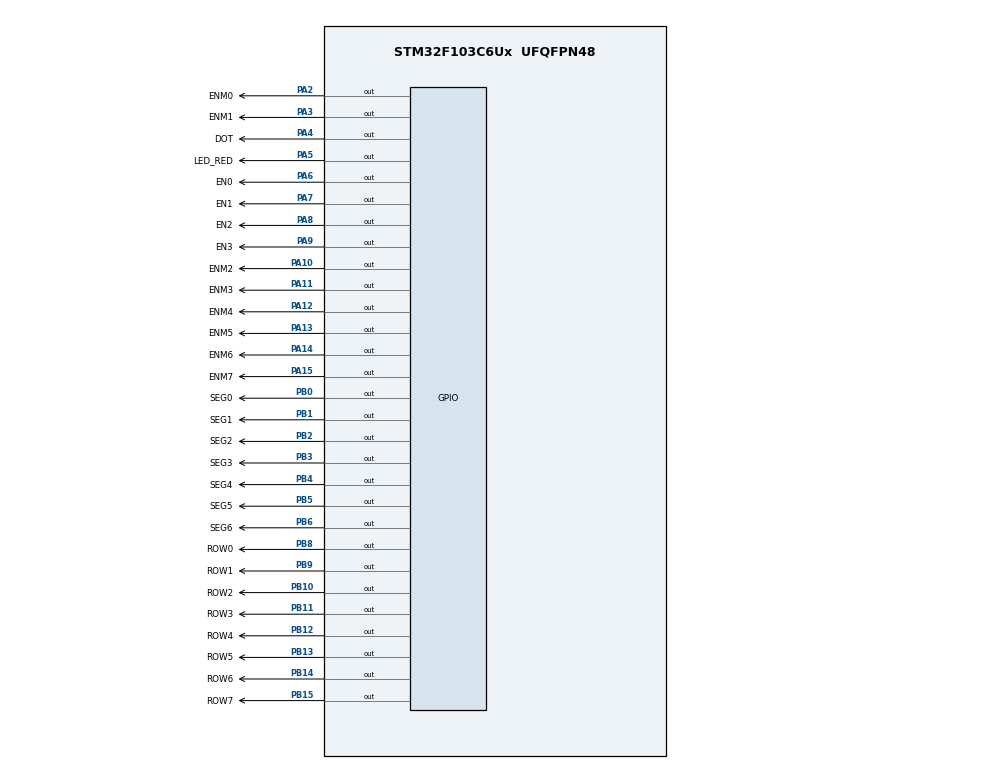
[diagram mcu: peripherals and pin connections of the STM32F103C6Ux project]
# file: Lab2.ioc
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Mcu.Family=STM32F1
Mcu.Name=STM32F103C6Ux
Mcu.Package=UFQFPN48
NVIC.PriorityGroup=NVIC_PRIORITYGROUP_4
NVIC.TIM2_IRQn=true\:0\:0\:false\:false\:true\:true\:true
PA10.GPIO_Label=ENM2
PA10.Signal=GPIO_Output
PA11.GPIO_Label=ENM3
PA11.Signal=GPIO_Output
PA12.GPIO_Label=ENM4
PA12.Signal=GPIO_Output
PA13.GPIO_Label=ENM5
PA13.Signal=GPIO_Output
PA14.GPIO_Label=ENM6
PA14.Signal=GPIO_Output
PA15.GPIO_Label=ENM7
PA15.Signal=GPIO_Output
PA2.GPIO_Label=ENM0
PA2.Signal=GPIO_Output
PA3.GPIO_Label=ENM1
PA3.Signal=GPIO_Output
PA4.GPIO_Label=DOT
PA4.Signal=GPIO_Output
PA5.GPIO_Label=LED_RED
PA5.Signal=GPIO_Output
PA6.GPIO_Label=EN0
PA6.Signal=GPIO_Output
PA7.GPIO_Label=EN1
PA7.Signal=GPIO_Output
PA8.GPIO_Label=EN2
PA8.Signal=GPIO_Output
PA9.GPIO_Label=EN3
PA9.Signal=GPIO_Output
PB0.GPIO_Label=SEG0
PB0.Signal=GPIO_Output
PB1.GPIO_Label=SEG1
PB1.Signal=GPIO_Output
PB10.GPIO_Label=ROW2
PB10.Signal=GPIO_Output
PB11.GPIO_Label=ROW3
PB11.Signal=GPIO_Output
PB12.GPIO_Label=ROW4
PB12.Signal=GPIO_Output
PB13.GPIO_Label=ROW5
PB13.Signal=GPIO_Output
PB14.GPIO_Label=ROW6
PB14.Signal=GPIO_Output
PB15.GPIO_Label=ROW7
PB15.Signal=GPIO_Output
PB2.GPIO_Label=SEG2
PB2.Signal=GPIO_Output
PB3.GPIO_Label=SEG3
PB3.Signal=GPIO_Output
PB4.GPIO_Label=SEG4
PB4.Signal=GPIO_Output
PB5.GPIO_Label=SEG5
PB5.Signal=GPIO_Output
PB6.GPIO_Label=SEG6
PB6.Signal=GPIO_Output
PB8.GPIO_Label=ROW0
PB8.Signal=GPIO_Output
PB9.GPIO_Label=ROW1
PB9.Signal=GPIO_Output
ProjectManager.HeapSize=0x200
ProjectManager.StackSize=0x400
ProjectManager.TargetToolchain=STM32CubeIDE
RCC.APB1Freq_Value=8000000
RCC.APB2Freq_Value=8000000
TIM2.Period=9
TIM2.Prescaler=7999
VP_SYS_VS_ND.Mode=No_Debug
VP_TIM2_VS_ClockSourceINT.Mode=Internal
board=custom

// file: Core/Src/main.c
/* USER CODE BEGIN Header */
/**
  ******************************************************************************
  * @file           : main.c
  * @brief          : Main program body
  ******************************************************************************
  * @attention
  *
  * <h2><center>&copy; Copyright (c) 2023 STMicroelectronics.
  * All rights reserved.</center></h2>
  *
  * This software component is licensed by ST under BSD 3-Clause license,
  * the "License"; You may not use this file except in compliance with the
  * License. You may obtain a copy of the License at:
  *                        opensource.org/licenses/BSD-3-Clause
  *
  ******************************************************************************
  */
/* USER CODE END Header */
#include "main.h"

/* USER CODE BEGIN Includes */
#include "software_timer.h"
#include "display7SEG.h"
/* USER CODE END Includes */

TIM_HandleTypeDef htim2;

void SystemClock_Config(void);
static void MX_GPIO_Init(void);
static void MX_TIM2_Init(void);

int main(void)
{

  /* MCU Configuration--------------------------------------------------------*/

  /* Reset of all peripherals, Initializes the Flash interface and the Systick. */
  HAL_Init();

  /* Configure the system clock */
  SystemClock_Config();

  /* Initialize all configured peripherals */
  MX_GPIO_Init();
  MX_TIM2_Init();
  /* USER CODE BEGIN 2 */
HAL_TIM_Base_Start_IT(&htim2);
  /* USER CODE END 2 */

  /* Infinite loop */
  /* USER CODE BEGIN WHILE */
setTimer1(25);
setTimer2(100);
setTimer3(100);
const int MAX_LED = 4;
int index_led = 0;
int led_buffer[4] = {0,0,0,0};
int hour = 0 , min = 0 , second = 0;

void update7SEG(int index){
	  clear7SEG();
	  display7SEG(led_buffer[index]);
	  switch (index){
	  case 0:
		  HAL_GPIO_WritePin(EN0_GPIO_Port, EN0_Pin, RESET);
		  break;
	  case 1:
		  HAL_GPIO_WritePin(EN1_GPIO_Port, EN1_Pin, RESET);
		  break;
	  case 2:
		  HAL_GPIO_WritePin(EN2_GPIO_Port, EN2_Pin, RESET);
		  break;
	  case 3:
		  HAL_GPIO_WritePin(EN3_GPIO_Port, EN3_Pin, RESET);
		  break;
	  default:
		  break;
	  }
}

void updateClockBuffer(){
	led_buffer[0] = hour/10;
	led_buffer[1] = hour%10;
	led_buffer[2] = min/10;
	led_buffer[3] = min%10;
}

  const int MAX_LED_MATRIX=8;
  int index_matrix=0;
  uint16_t row[8]={ROW0_Pin,ROW1_Pin,ROW2_Pin,ROW3_Pin,ROW4_Pin,ROW5_Pin,ROW6_Pin,ROW7_Pin};
  uint16_t col[8]={ENM0_Pin,ENM1_Pin,ENM2_Pin,ENM3_Pin,ENM4_Pin,ENM5_Pin,ENM6_Pin,ENM7_Pin};
  uint8_t matrix_buffer[8] = {0x04, 0x08, 0x18, 0x28, 0x28, 0x18, 0x08, 0x04};

  void clearLEDMatrix(){
	  for (int i=0; i<8; i++){
		  HAL_GPIO_WritePin(GPIOB,row[i],SET);
		  HAL_GPIO_WritePin(GPIOA,col[i],SET);
	  }
  }

  void setRow(uint8_t index_buffer){
	  if((index_buffer >> 0) & 0x01)
		  HAL_GPIO_WritePin(ROW0_GPIO_Port, ROW0_Pin, RESET);
	  if((index_buffer >> 1) & 0x01)
		  HAL_GPIO_WritePin(ROW1_GPIO_Port, ROW1_Pin, RESET);
	  if((index_buffer >> 2) & 0x01)
		  HAL_GPIO_WritePin(ROW2_GPIO_Port, ROW2_Pin, RESET);
	  if((index_buffer >> 3) & 0x01)
		  HAL_GPIO_WritePin(ROW3_GPIO_Port, ROW3_Pin, RESET);
	  if((index_buffer >> 4) & 0x01)
		  HAL_GPIO_WritePin(ROW4_GPIO_Port, ROW4_Pin, RESET);
	  if((index_buffer >> 5) & 0x01)
		  HAL_GPIO_WritePin(ROW5_GPIO_Port, ROW5_Pin, RESET);
	  if((index_buffer >> 6) & 0x01)
		  HAL_GPIO_WritePin(ROW6_GPIO_Port, ROW6_Pin, RESET);
	  if((index_buffer >> 7) & 0x01)
		  HAL_GPIO_WritePin(ROW7_GPIO_Port, ROW7_Pin, RESET);
  }

  void updateLEDMatrix(int index_matrix){
	  clearLEDMatrix();
	  switch(index_matrix){
	  case 0:
		  HAL_GPIO_WritePin(GPIOA, ENM0_Pin, RESET);
		  break;
	  case 1:
		  HAL_GPIO_WritePin(GPIOA, ENM1_Pin, RESET);
		  break;
	  case 2:
		  HAL_GPIO_WritePin(GPIOA, ENM2_Pin, RESET);
		  break;
	  case 3:
		  HAL_GPIO_WritePin(GPIOA, ENM3_Pin, RESET);
		  break;
	  case 4:
		  HAL_GPIO_WritePin(GPIOA, ENM4_Pin, RESET);
		  break;
	  case 5:
		  HAL_GPIO_WritePin(GPIOA, ENM5_Pin, RESET);
		  break;
	  case 6:
		  HAL_GPIO_WritePin(GPIOA, ENM6_Pin, RESET);
		  break;
	  case 7:
		  HAL_GPIO_WritePin(GPIOA, ENM7_Pin, RESET);
		  break;
	  default:
		  break;
	  }
	  setRow(matrix_buffer[index_matrix]);
  }

  void shift_buffer(uint8_t matrix_buffer[8]){
	  uint8_t temp = matrix_buffer[7];
	  matrix_buffer[7] = matrix_buffer[6];
	  matrix_buffer[6] = matrix_buffer[5];
	  matrix_buffer[5] = matrix_buffer[4];
	  matrix_buffer[4] = matrix_buffer[3];
	  matrix_buffer[3] = matrix_buffer[2];
	  matrix_buffer[2] = matrix_buffer[1];
	  matrix_buffer[1] = matrix_buffer[0];
	  matrix_buffer[0] = temp;
  }

  while (1)
  {
	  if (timer1_flag==1){
		  setTimer1(25);

		  HAL_GPIO_TogglePin(LED_RED_GPIO_Port, LED_RED_Pin);
		  update7SEG(index_led++);
		  if (index_led >= MAX_LED) index_led = 0;
	  }

	  if (timer2_flag==1){
	  		setTimer2(100);

	  		HAL_GPIO_TogglePin(DOT_GPIO_Port, DOT_Pin);

	  		second++;
	  		if (second >= 60){
	  			second=0;
	  			min++;
	  		}
	  		if (min >= 60){
	  			min=6;
	  			hour++;
	  		}
	  		if (hour >= 24){
	  			hour=0;
	  		}
	  		updateClockBuffer();
	  	}

	  if (timer3_flag==1){
	 		  setTimer3(10);
	 		  updateLEDMatrix(index_matrix++);
	 		  if (index_matrix >= MAX_LED_MATRIX) {
	 			  index_matrix=0;
	 			  shift_buffer(matrix_buffer);
	 		  }
	 	  }
    /* USER CODE END WHILE */

  }
}

void SystemClock_Config(void)
{
  RCC_OscInitTypeDef RCC_OscInitStruct = {0};
  RCC_ClkInitTypeDef RCC_ClkInitStruct = {0};

  /** Initializes the RCC Oscillators according to the specified parameters
  * in the RCC_OscInitTypeDef structure.
  */
  RCC_OscInitStruct.OscillatorType = RCC_OSCILLATORTYPE_HSI;
  RCC_OscInitStruct.HSIState = RCC_HSI_ON;
  RCC_OscInitStruct.HSICalibrationValue = RCC_HSICALIBRATION_DEFAULT;
  RCC_OscInitStruct.PLL.PLLState = RCC_PLL_NONE;
  if (HAL_RCC_OscConfig(&RCC_OscInitStruct) != HAL_OK)
  {
    Error_Handler();
  }
  /** Initializes the CPU, AHB and APB buses clocks
  */
  RCC_ClkInitStruct.ClockType = RCC_CLOCKTYPE_HCLK|RCC_CLOCKTYPE_SYSCLK
                              |RCC_CLOCKTYPE_PCLK1|RCC_CLOCKTYPE_PCLK2;
  RCC_ClkInitStruct.SYSCLKSource = RCC_SYSCLKSOURCE_HSI;
  RCC_ClkInitStruct.AHBCLKDivider = RCC_SYSCLK_DIV1;
  RCC_ClkInitStruct.APB1CLKDivider = RCC_HCLK_DIV1;
  RCC_ClkInitStruct.APB2CLKDivider = RCC_HCLK_DIV1;

  if (HAL_RCC_ClockConfig(&RCC_ClkInitStruct, FLASH_LATENCY_0) != HAL_OK)
  {
    Error_Handler();
  }
}

static void MX_TIM2_Init(void)
{

  TIM_ClockConfigTypeDef sClockSourceConfig = {0};
  TIM_MasterConfigTypeDef sMasterConfig = {0};

  htim2.Instance = TIM2;
  htim2.Init.Prescaler = 7999;
  htim2.Init.CounterMode = TIM_COUNTERMODE_UP;
  htim2.Init.Period = 9;
  htim2.Init.ClockDivision = TIM_CLOCKDIVISION_DIV1;
  htim2.Init.AutoReloadPreload = TIM_AUTORELOAD_PRELOAD_DISABLE;
  if (HAL_TIM_Base_Init(&htim2) != HAL_OK)
  {
    Error_Handler();
  }
  sClockSourceConfig.ClockSource = TIM_CLOCKSOURCE_INTERNAL;
  if (HAL_TIM_ConfigClockSource(&htim2, &sClockSourceConfig) != HAL_OK)
  {
    Error_Handler();
  }
  sMasterConfig.MasterOutputTrigger = TIM_TRGO_RESET;
  sMasterConfig.MasterSlaveMode = TIM_MASTERSLAVEMODE_DISABLE;
  if (HAL_TIMEx_MasterConfigSynchronization(&htim2, &sMasterConfig) != HAL_OK)
  {
    Error_Handler();
  }

}

static void MX_GPIO_Init(void)
{
  GPIO_InitTypeDef GPIO_InitStruct = {0};

  /* GPIO Ports Clock Enable */
  __HAL_RCC_GPIOA_CLK_ENABLE();
  __HAL_RCC_GPIOB_CLK_ENABLE();

  /*Configure GPIO pin Output Level */
  HAL_GPIO_WritePin(GPIOA, ENM0_Pin|ENM1_Pin|DOT_Pin|LED_RED_Pin
                          |EN0_Pin|EN1_Pin|EN2_Pin|EN3_Pin
                          |ENM2_Pin|ENM3_Pin|ENM4_Pin|ENM5_Pin
                          |ENM6_Pin|ENM7_Pin, GPIO_PIN_RESET);

  /*Configure GPIO pin Output Level */
  HAL_GPIO_WritePin(GPIOB, SEG0_Pin|SEG1_Pin|SEG2_Pin|ROW2_Pin
                          |ROW3_Pin|ROW4_Pin|ROW5_Pin|ROW6_Pin
                          |ROW7_Pin|SEG3_Pin|SEG4_Pin|SEG5_Pin
                          |SEG6_Pin|ROW0_Pin|ROW1_Pin, GPIO_PIN_RESET);

  /*Configure GPIO pins : ENM0_Pin ENM1_Pin DOT_Pin LED_RED_Pin
                           EN0_Pin EN1_Pin EN2_Pin EN3_Pin
                           ENM2_Pin ENM3_Pin ENM4_Pin ENM5_Pin
                           ENM6_Pin ENM7_Pin */
  GPIO_InitStruct.Pin = ENM0_Pin|ENM1_Pin|DOT_Pin|LED_RED_Pin
                          |EN0_Pin|EN1_Pin|EN2_Pin|EN3_Pin
                          |ENM2_Pin|ENM3_Pin|ENM4_Pin|ENM5_Pin
                          |ENM6_Pin|ENM7_Pin;
  GPIO_InitStruct.Mode = GPIO_MODE_OUTPUT_PP;
  GPIO_InitStruct.Pull = GPIO_NOPULL;
  GPIO_InitStruct.Speed = GPIO_SPEED_FREQ_LOW;
  HAL_GPIO_Init(GPIOA, &GPIO_InitStruct);

  /*Configure GPIO pins : SEG0_Pin SEG1_Pin SEG2_Pin ROW2_Pin
                           ROW3_Pin ROW4_Pin ROW5_Pin ROW6_Pin
                           ROW7_Pin SEG3_Pin SEG4_Pin SEG5_Pin
                           SEG6_Pin ROW0_Pin ROW1_Pin */
  GPIO_InitStruct.Pin = SEG0_Pin|SEG1_Pin|SEG2_Pin|ROW2_Pin
                          |ROW3_Pin|ROW4_Pin|ROW5_Pin|ROW6_Pin
                          |ROW7_Pin|SEG3_Pin|SEG4_Pin|SEG5_Pin
                          |SEG6_Pin|ROW0_Pin|ROW1_Pin;
  GPIO_InitStruct.Mode = GPIO_MODE_OUTPUT_PP;
  GPIO_InitStruct.Pull = GPIO_NOPULL;
  GPIO_InitStruct.Speed = GPIO_SPEED_FREQ_LOW;
  HAL_GPIO_Init(GPIOB, &GPIO_InitStruct);

}

/* USER CODE BEGIN 4 */

void HAL_TIM_PeriodElapsedCallback ( TIM_HandleTypeDef * htim ){
	timerRun();
}
/* USER CODE END 4 */

void Error_Handler(void)
{
  __disable_irq();
  while (1)
  {
  }
}

/************************ (C) COPYRIGHT STMicroelectronics *****END OF FILE****/
